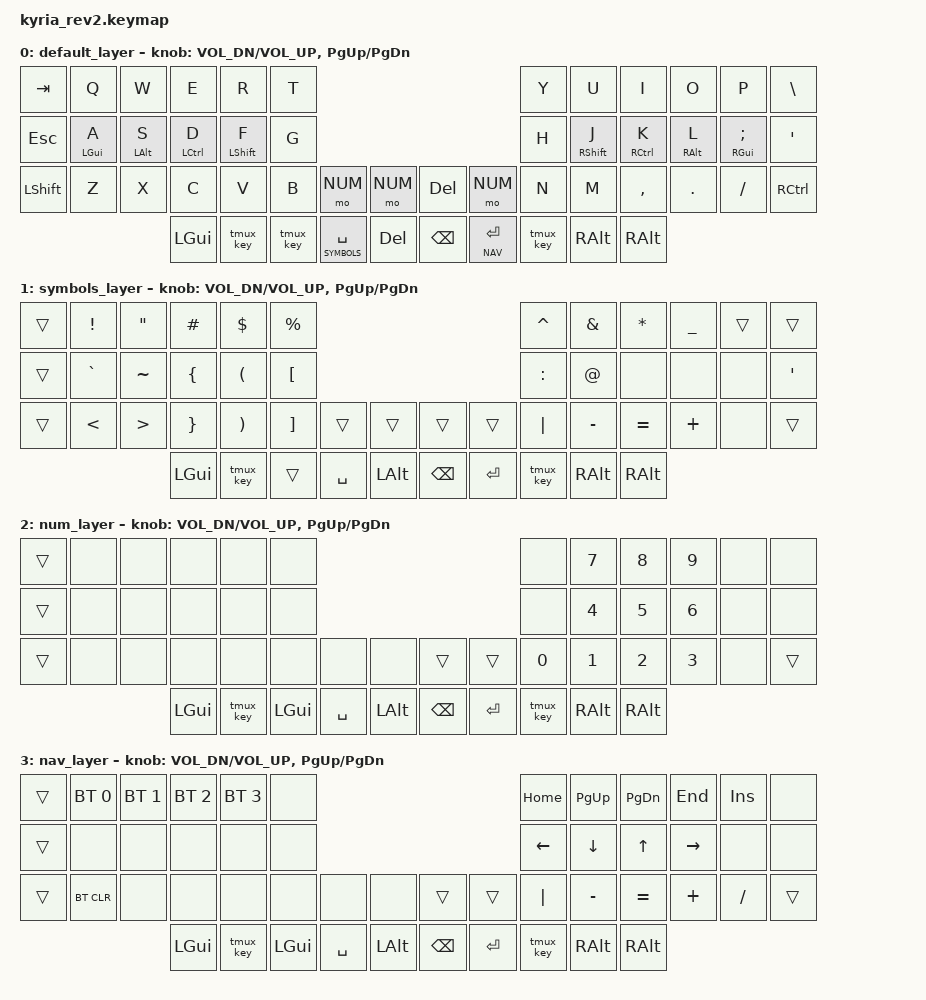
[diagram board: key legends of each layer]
/*
 * Copyright (c) 2020 The ZMK Contributors
 *
 * SPDX-License-Identifier: MIT
 */

#include <behaviors.dtsi>
#include <dt-bindings/zmk/keys.h>
#include <dt-bindings/zmk/bt.h>
#include <dt-bindings/zmk/outputs.h>
//#include <dt-bindings/zmk/mouse.h>

#define DEFAULT 0
#define SYMBOLS 1
#define NUM     2
#define NAV     3

&caps_word {
    continue-list = <UNDERSCORE MINUS>;
};

/ {
    behaviors {
        am: alpha_mods {
            compatible = "zmk,behavior-hold-tap";
            label = "ALPHA_MT";
            #binding-cells = <2>;
            tapping-term-ms = <250>;
            quick-tap-ms = <150>;
            flavor = "tap-preferred";
            bindings = <&kp>, <&kp>;
        };
    };
    macros {
        tmux_key: tmux_key {
            label = "tmux_key";
            compatible = "zmk,behavior-macro";
            #binding-cells = <0>;
            bindings
            = <&macro_press &kp LCTRL>
            , <&macro_tap &kp B >
            , <&macro_release &kp LCTRL>
            ;
        };
    };

	keymap {
		compatible = "zmk,keymap";

		default_layer {
// Base layer: QWERTY

			bindings = <
// ╭────────────┬────────────┬────────────┬────────────┬────────────┬────────────╮                                                        ╭────────────┬────────────┬────────────┬────────────┬────────────┬────────────╮
    &kp TAB       &kp Q        &kp W        &kp E        &kp R        &kp T                                                                 &kp Y        &kp U        &kp I        &kp O        &kp P        &kp BSLH
// ├────────────┼────────────┼────────────┼────────────┼────────────┼────────────┤                                                        ├────────────┼────────────┼────────────┼────────────┼────────────┼────────────┤
    &kp ESC       &am LGUI A   &am LALT S   &am LCTRL D  &am LSHFT F  &kp G                                                                 &kp H        &am RSHFT J  &am RCTRL K  &am RALT L  &am RGUI SEMI &kp SQT                 
// ├────────────┼────────────┼────────────┼────────────┼────────────┼────────────┼─────────────┬────────────╮  ╭─────────────┬────────────┼────────────┼────────────┼────────────┼────────────┼────────────┼────────────┤
    &kp LSHFT     &kp Z        &kp X        &kp C        &kp V        &kp B        &mo NUM       &mo NUM         &kp DEL       &mo NUM      &kp N        &kp M        &kp COMMA    &kp DOT      &kp FSLH     &kp RCTRL                  
// ╰────────────┴────────────┴────────────┼────────────┼────────────┼────────────┼─────────────┼────────────┤  ├─────────────┼────────────┼────────────┼────────────┼────────────┴────────────┴────────────┴────────────╯
                                            &kp LGUI     &tmux_key    &tmux_key  &lt SYMBOLS SPACE &kp DEL       &kp BSPC      &lt NAV RET  &tmux_key    &kp RALT     &kp RALT                                          
//                                        ╰────────────┴────────────┴────────────┴─────────────┴────────────╯  ╰─────────────┴────────────┴────────────┴────────────┴────────────╯
            >;

			sensor-bindings = <&inc_dec_kp C_VOL_DN C_VOL_UP &inc_dec_kp PG_UP PG_DN>;
		};

		symbols_layer {

            bindings = <
// ╭────────────┬────────────┬────────────┬────────────┬────────────┬────────────╮                                                        ╭────────────┬────────────┬────────────┬────────────┬────────────┬────────────╮
    &trans        &kp EXCL     &kp DQT      &kp HASH     &kp DOLLAR   &kp PRCNT                                                             &kp CARET    &kp AMPS     &kp STAR     &kp UNDER    &trans       &trans   
// ├────────────┼────────────┼────────────┼────────────┼────────────┼────────────┤                                                        ├────────────┼────────────┼────────────┼────────────┼────────────┼────────────┤
    &trans        &kp GRAVE    &kp TILDE    &kp LBRC     &kp LPAR     &kp LBKT                                                              &kp COLON    &kp AT       &none        &none        &none        &kp SQT                 
// ├────────────┼────────────┼────────────┼────────────┼────────────┼────────────┼─────────────┬────────────╮  ╭─────────────┬────────────┼────────────┼────────────┼────────────┼────────────┼────────────┼────────────┤
    &trans        &kp LT       &kp GT       &kp RBRC     &kp RPAR     &kp RBKT      &trans       &trans          &trans        &trans       &kp PIPE     &kp MINUS    &kp EQUAL    &kp PLUS     &none        &trans          
// ╰────────────┴────────────┴────────────┼────────────┼────────────┼────────────┼─────────────┼────────────┤  ├─────────────┼────────────┼────────────┼────────────┼────────────┴────────────┴────────────┴────────────╯
                                            &kp LGUI     &tmux_key    &trans        &kp SPACE     &kp LALT        &kp BSPC      &kp RET      &tmux_key    &kp RALT      &kp RALT                                          
//                                        ╰────────────┴────────────┴────────────┴─────────────┴────────────╯  ╰─────────────┴────────────┴────────────┴────────────┴────────────╯
            >;

			sensor-bindings = <&inc_dec_kp C_VOL_DN C_VOL_UP &inc_dec_kp PG_UP PG_DN>;
		};

		num_layer {
            
            bindings = <
// ╭────────────┬────────────┬────────────┬────────────┬────────────┬────────────╮                                                        ╭────────────┬────────────┬────────────┬────────────┬────────────┬────────────╮
    &trans        &none        &none        &none        &none        &none                                                                 &none        &kp N7       &kp N8       &kp N9       &none        &none      
// ├────────────┼────────────┼────────────┼────────────┼────────────┼────────────┤                                                        ├────────────┼────────────┼────────────┼────────────┼────────────┼────────────┤
    &trans        &none        &none        &none        &none        &none                                                                 &none        &kp N4       &kp N5       &kp N6       &none        &none                 
// ├────────────┼────────────┼────────────┼────────────┼────────────┼────────────┼─────────────┬────────────╮  ╭─────────────┬────────────┼────────────┼────────────┼────────────┼────────────┼────────────┼────────────┤
    &trans        &none        &none        &none        &none        &none        &none         &none           &trans        &trans       &kp N0       &kp N1       &kp N2       &kp N3       &none        &trans                  
// ╰────────────┴────────────┴────────────┼────────────┼────────────┼────────────┼─────────────┼────────────┤  ├─────────────┼────────────┼────────────┼────────────┼────────────┴────────────┴────────────┴────────────╯
                                            &kp LGUI     &tmux_key    &kp LGUI     &kp SPACE     &kp LALT        &kp BSPC      &kp RET      &tmux_key    &kp RALT      &kp RALT                                          
//                                        ╰────────────┴────────────┴────────────┴─────────────┴────────────╯  ╰─────────────┴────────────┴────────────┴────────────┴────────────╯
            >;

			sensor-bindings = <&inc_dec_kp C_VOL_DN C_VOL_UP &inc_dec_kp PG_UP PG_DN>;
		};

		nav_layer {
            
            bindings = <
// ╭────────────┬────────────┬────────────┬────────────┬────────────┬────────────╮                                                        ╭────────────┬────────────┬────────────┬────────────┬────────────┬────────────╮
    &trans        &bt BT_SEL 0  &bt BT_SEL 1  &bt BT_SEL 2  &bt BT_SEL 3  &none                                                                 &kp HOME     &kp PG_UP    &kp PG_DN    &kp END      &kp INS      &none
// ├────────────┼────────────┼────────────┼────────────┼────────────┼────────────┤                                                        ├────────────┼────────────┼────────────┼────────────┼────────────┼────────────┤
    &trans        &none        &none        &none        &none        &none                                                                 &kp LEFT     &kp DOWN     &kp UP       &kp RIGHT    &none        &none                 
// ├────────────┼────────────┼────────────┼────────────┼────────────┼────────────┼─────────────┬────────────╮  ╭─────────────┬────────────┼────────────┼────────────┼────────────┼────────────┼────────────┼────────────┤
    &trans        &bt BT_CLR   &none        &none        &none        &none        &none         &none           &trans        &trans       &kp PIPE     &kp MINUS    &kp EQUAL    &kp PLUS      &kp FSLH    &trans                  
// ╰────────────┴────────────┴────────────┼────────────┼────────────┼────────────┼─────────────┼────────────┤  ├─────────────┼────────────┼────────────┼────────────┼────────────┴────────────┴────────────┴────────────╯
                                            &kp LGUI     &tmux_key    &kp LGUI     &kp SPACE     &kp LALT        &kp BSPC      &kp RET  &tmux_key    &kp RALT      &kp RALT                                          
//                                        ╰────────────┴────────────┴────────────┴─────────────┴────────────╯  ╰─────────────┴────────────┴────────────┴────────────┴────────────╯
            >;

			sensor-bindings = <&inc_dec_kp C_VOL_DN C_VOL_UP &inc_dec_kp PG_UP PG_DN>;
		};

	};
};
